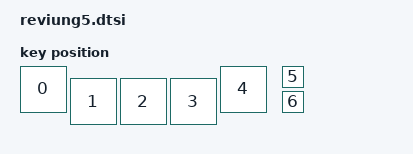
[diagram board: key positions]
/*
 * Copyright (c) 2026 The ZMK Contributors
 *
 * SPDX-License-Identifier: MIT
 */

#include <physical_layouts.dtsi>

/ {
    gtips_reviung5_layout: gtips_reviung5_layout {
        compatible = "zmk,physical-layout";
        display-name = "REVIUNG5";

        keys  //                     w   h    x    y     rot    rx    ry
            = <&key_physical_attrs 100 100    0    0       0     0     0>
            , <&key_physical_attrs 100 100  100   25       0     0     0>
            , <&key_physical_attrs 100 100  200   25       0     0     0>
            , <&key_physical_attrs 100 100  300   25       0     0     0>
            , <&key_physical_attrs 100 100  400    0       0     0     0>
            // Virtual encoder directions, shown to the right of the fifth key.
            , <&key_physical_attrs 50 50  525    0       0     0     0> // CCW
            , <&key_physical_attrs 50 50  525   50       0     0     0> // CW
            ;
    };
};
